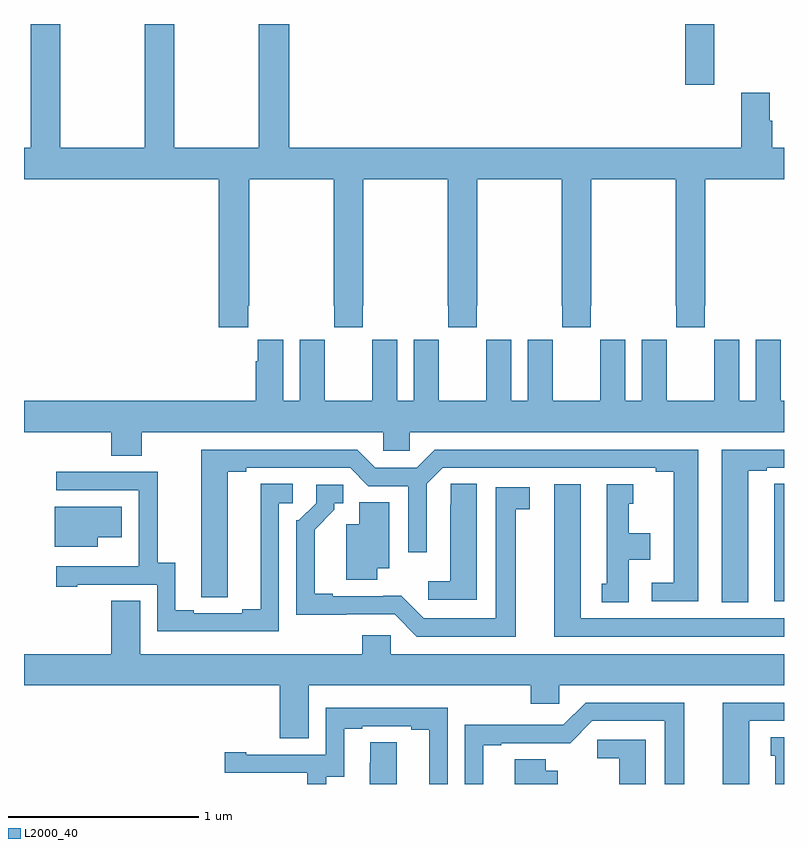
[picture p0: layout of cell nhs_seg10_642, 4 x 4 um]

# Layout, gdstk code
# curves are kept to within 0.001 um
import gdstk
lib = gdstk.Library(unit=1e-6, precision=1e-09)
def R(c, l, rs):  # rectangles x0, y0, x1, y1
    for r in rs: c.add(gdstk.rectangle(r[:2], r[2:], *l))
def P(c, l, *ps):  # polygons
    for p in ps: c.add(gdstk.Polygon(p, *l))
L2000_40 = (2000, 40)

nhs_seg10_642 = lib.new_cell('nhs_seg10_642')
R(nhs_seg10_642, L2000_40, [(146.48,1266.18,146.634,1266.5)])
P(nhs_seg10_642, L2000_40, [(144.179,1265.017),(144.186,1265.017),(144.186,1265.684),(144.631,1265.684),(144.631,1265.017),(144.633,1265.017),(144.633,1264.905),(144.783,1264.905),(144.783,1265.017),(144.786,1265.017),(144.786,1265.684),(145.231,1265.684),(145.231,1265.017),(145.233,1265.017),(145.233,1264.905),(145.383,1264.905),(145.383,1265.017),(145.386,1265.017),(145.386,1265.684),(145.831,1265.684),(145.831,1265.017),(145.833,1265.017),(145.833,1264.905),(145.983,1264.905),(145.983,1265.017),(145.986,1265.017),(145.986,1265.684),(146.431,1265.684),(146.431,1265.017),(146.433,1265.017),(146.433,1264.905),(146.583,1264.905),(146.583,1265.017),(146.586,1265.017),(146.586,1265.684),(147,1265.684),(147,1265.848),(146.939,1265.848),(146.939,1265.99),(146.926,1265.99),(146.926,1266.139),(146.774,1266.139),(146.774,1265.848),(144.395,1265.848),(144.395,1266.5),(144.235,1266.5),(144.235,1265.848),(143.79,1265.848),(143.79,1266.5),(143.635,1266.5),(143.635,1265.848),(143.19,1265.848),(143.19,1266.5),(143.035,1266.5),(143.035,1265.848),(143,1265.848),(143,1265.684),(144.026,1265.684),(144.026,1264.905),(144.179,1264.905)],
  [(143.619,1264.352),(144.891,1264.352),(144.891,1264.254),(145.029,1264.254),(145.029,1264.352),(147,1264.352),(147,1264.516),(146.983,1264.516),(146.983,1264.724),(146.982,1264.724),(146.982,1264.837),(146.852,1264.837),(146.852,1264.516),(146.764,1264.516),(146.764,1264.837),(146.634,1264.837),(146.634,1264.724),(146.633,1264.724),(146.633,1264.516),(146.383,1264.516),(146.383,1264.724),(146.382,1264.724),(146.382,1264.837),(146.252,1264.837),(146.252,1264.516),(146.164,1264.516),(146.164,1264.837),(146.034,1264.837),(146.034,1264.724),(146.033,1264.724),(146.033,1264.516),(145.783,1264.516),(145.783,1264.724),(145.782,1264.724),(145.782,1264.837),(145.652,1264.837),(145.652,1264.516),(145.564,1264.516),(145.564,1264.837),(145.434,1264.837),(145.434,1264.724),(145.433,1264.724),(145.433,1264.516),(145.183,1264.516),(145.183,1264.724),(145.182,1264.724),(145.182,1264.837),(145.052,1264.837),(145.052,1264.516),(144.964,1264.516),(144.964,1264.837),(144.834,1264.837),(144.834,1264.724),(144.833,1264.724),(144.833,1264.516),(144.583,1264.516),(144.583,1264.724),(144.582,1264.724),(144.582,1264.837),(144.452,1264.837),(144.452,1264.516),(144.364,1264.516),(144.364,1264.837),(144.23,1264.837),(144.23,1264.724),(144.221,1264.724),(144.221,1264.516),(143,1264.516),(143,1264.352),(143.459,1264.352),(143.459,1264.228),(143.619,1264.228)],
  [(146.812,1264.149),(146.908,1264.149),(146.908,1264.164),(147,1264.164),(147,1264.26),(146.672,1264.26),(146.672,1263.457),(146.812,1263.457)],
  [(146.548,1264.26),(145.163,1264.26),(145.067,1264.164),(144.849,1264.164),(144.753,1264.26),(143.933,1264.26),(143.934,1263.484),(144.073,1263.484),(144.073,1264.144),(144.169,1264.144),(144.169,1264.164),(144.717,1264.164),(144.813,1264.068),(145.023,1264.068),(145.023,1263.72),(145.119,1263.72),(145.119,1264.08),(145.203,1264.164),(146.324,1264.164),(146.324,1264.144),(146.42,1264.144),(146.42,1263.558),(146.304,1263.558),(146.304,1263.462),(146.548,1263.462)],
  [(144.342,1263.978),(144.415,1263.978),(144.415,1264.079),(144.245,1264.079),(144.245,1263.419),(144.149,1263.419),(144.149,1263.399),(143.893,1263.399),(143.893,1263.414),(143.797,1263.414),(143.797,1263.665),(143.703,1263.665),(143.703,1264.143),(143.169,1264.143),(143.169,1264.047),(143.604,1264.047),(143.604,1263.646),(143.603,1263.646),(143.603,1263.645),(143.169,1263.645),(143.169,1263.537),(143.281,1263.537),(143.281,1263.549),(143.7,1263.549),(143.7,1263.303),(144.342,1263.303)],
  [(147,1264.079),(146.949,1264.079),(146.949,1263.971),(146.948,1263.971),(146.948,1263.461),(147,1263.461)],
  [(145.384,1264.079),(145.245,1264.079),(145.245,1263.971),(145.244,1263.971),(145.244,1263.568),(145.128,1263.568),(145.128,1263.471),(145.384,1263.471)],
  [(146.182,1263.68),(146.296,1263.68),(146.296,1263.82),(146.182,1263.82),(146.182,1263.975),(146.206,1263.975),(146.206,1264.078),(146.066,1264.078),(146.066,1263.555),(146.042,1263.555),(146.042,1263.457),(146.182,1263.457)],
  [(147,1263.372),(145.93,1263.372),(145.93,1264.078),(145.79,1264.078),(145.79,1263.276),(147,1263.276)],
  [(145.588,1263.946),(145.663,1263.946),(145.663,1264.062),(145.484,1264.062),(145.484,1263.372),(145.104,1263.372),(144.986,1263.49),(144.625,1263.489),(144.625,1263.502),(144.529,1263.502),(144.529,1263.838),(144.634,1263.943),(144.634,1263.978),(144.679,1263.978),(144.679,1264.074),(144.537,1264.074),(144.537,1263.978),(144.447,1263.888),(144.432,1263.888),(144.432,1263.392),(144.951,1263.393),(145.068,1263.276),(145.588,1263.276)],
  [(144.859,1263.635),(144.922,1263.635),(144.922,1263.983),(144.764,1263.983),(144.764,1263.868),(144.695,1263.868),(144.695,1263.574),(144.859,1263.574)],
  [(143.389,1263.8),(143.515,1263.8),(143.515,1263.958),(143.162,1263.958),(143.162,1263.749),(143.389,1263.749)],
  [(144.499,1263.02),(145.667,1263.02),(145.667,1262.922),(145.818,1262.922),(145.818,1263.02),(147,1263.02),(147,1263.184),(144.93,1263.184),(144.93,1263.282),(144.779,1263.282),(144.779,1263.184),(143.611,1263.184),(143.611,1263.464),(143.459,1263.464),(143.459,1263.184),(143,1263.184),(143,1263.02),(144.347,1263.02),(144.347,1262.74),(144.499,1262.74)],
  [(145.417,1262.703),(145.513,1262.703),(145.513,1262.715),(145.874,1262.714),(145.992,1262.832),(146.372,1262.832),(146.372,1262.5),(146.476,1262.5),(146.476,1262.928),(145.956,1262.928),(145.839,1262.811),(145.583,1262.811),(145.583,1262.813),(145.32,1262.813),(145.32,1262.5),(145.417,1262.5)],
  [(146.818,1262.832),(147,1262.832),(147,1262.928),(146.678,1262.928),(146.678,1262.5),(146.818,1262.5)],
  [(144.591,1262.539),(144.685,1262.539),(144.685,1262.79),(144.781,1262.79),(144.781,1262.805),(145.037,1262.805),(145.037,1262.785),(145.133,1262.785),(145.133,1262.5),(145.23,1262.5),(145.23,1262.901),(144.588,1262.901),(144.588,1262.655),(144.169,1262.655),(144.169,1262.668),(144.057,1262.668),(144.057,1262.559),(144.491,1262.559),(144.491,1262.558),(144.492,1262.558),(144.492,1262.5),(144.591,1262.5)],
  [(147,1262.747),(146.93,1262.747),(146.93,1262.649),(146.954,1262.649),(146.954,1262.5),(147,1262.5)],
  [(146.272,1262.733),(146.016,1262.733),(146.016,1262.636),(146.132,1262.636),(146.132,1262.5),(146.272,1262.5)],
  [(144.961,1262.72),(144.822,1262.72),(144.822,1262.612),(144.821,1262.612),(144.821,1262.5),(144.961,1262.5)],
  [(145.81,1262.569),(145.747,1262.569),(145.747,1262.63),(145.583,1262.63),(145.583,1262.5),(145.81,1262.5)])

lib.write_gds('nhs_seg10_642.gds')
